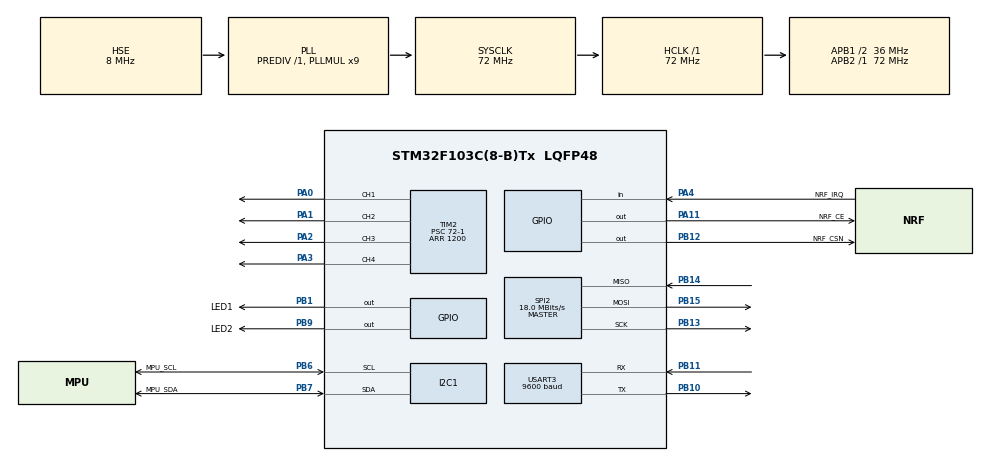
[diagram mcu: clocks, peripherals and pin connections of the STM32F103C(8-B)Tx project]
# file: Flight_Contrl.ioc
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FREERTOS.Queues01=GestureQueue,8,Gesture_Typedef,0,Dynamic,NULL,NULL
FREERTOS.Tasks01=defaultTask,-2,64,StartDefaultTask,Default,NULL,Dynamic,NULL,NULL;NRFTask,3,512,StartNRFTask,Default,NULL,Dynamic,NULL,NULL;FCTask,2,256,StartFCTask,Default,NULL,Dynamic,NULL,NULL
FREERTOS.configENABLE_BACKWARD_COMPATIBILITY=0
FREERTOS.configIDLE_SHOULD_YIELD=0
FREERTOS.configMAX_TASK_NAME_LEN=12
FREERTOS.configMINIMAL_STACK_SIZE=64
FREERTOS.configQUEUE_REGISTRY_SIZE=0
FREERTOS.configTOTAL_HEAP_SIZE=10240
FREERTOS.configUSE_TASK_NOTIFICATIONS=0
I2C1.I2C_Mode=I2C_Fast
Mcu.Family=STM32F1
Mcu.Name=STM32F103C(8-B)Tx
Mcu.Package=LQFP48
NVIC.PriorityGroup=NVIC_PRIORITYGROUP_4
NVIC.TIM4_IRQn=true\:0\:0\:false\:false\:true\:false\:false\:true
NVIC.TimeBase=TIM4_IRQn
NVIC.TimeBaseIP=TIM4
PA0-WKUP.Signal=S_TIM2_CH1_ETR
PA1.Signal=S_TIM2_CH2
PA11.GPIO_Label=NRF_CE
PA11.GPIO_Speed=GPIO_SPEED_FREQ_HIGH
PA11.Signal=GPIO_Output
PA13.Mode=Serial_Wire
PA13.Signal=SYS_JTMS-SWDIO
PA14.Mode=Serial_Wire
PA14.Signal=SYS_JTCK-SWCLK
PA2.Signal=S_TIM2_CH3
PA3.Signal=S_TIM2_CH4
PA4.GPIO_Label=NRF_IRQ
PA4.GPIO_PuPd=GPIO_NOPULL
PA4.Signal=GPIO_Input
PB1.GPIO_Label=LED1
PB1.GPIO_Speed=GPIO_SPEED_FREQ_HIGH
PB1.Signal=GPIO_Output
PB10.Mode=Asynchronous
PB10.Signal=USART3_TX
PB11.Mode=Asynchronous
PB11.Signal=USART3_RX
PB12.GPIO_Label=NRF_CSN
PB12.Signal=GPIO_Output
PB13.Mode=Full_Duplex_Master
PB13.Signal=SPI2_SCK
PB14.Mode=Full_Duplex_Master
PB14.Signal=SPI2_MISO
PB15.Mode=Full_Duplex_Master
PB15.Signal=SPI2_MOSI
PB6.GPIO_Label=MPU_SCL
PB6.Mode=I2C
PB6.Signal=I2C1_SCL
PB7.GPIO_Label=MPU_SDA
PB7.Mode=I2C
PB7.Signal=I2C1_SDA
PB9.GPIO_Label=LED2
PB9.Signal=GPIO_Output
PC14-OSC32_IN.Mode=LSE-External-Oscillator
PC14-OSC32_IN.Signal=RCC_OSC32_IN
PC15-OSC32_OUT.Mode=LSE-External-Oscillator
PC15-OSC32_OUT.Signal=RCC_OSC32_OUT
PD0-OSC_IN.Mode=HSE-External-Oscillator
PD0-OSC_IN.Signal=RCC_OSC_IN
PD1-OSC_OUT.Mode=HSE-External-Oscillator
PD1-OSC_OUT.Signal=RCC_OSC_OUT
ProjectManager.HeapSize=0x400
ProjectManager.StackSize=0x600
ProjectManager.TargetToolchain=MDK-ARM V5
RCC.AHBFreq_Value=72000000
RCC.APB1CLKDivider=RCC_HCLK_DIV2
RCC.APB1Freq_Value=36000000
RCC.APB1TimFreq_Value=72000000
RCC.APB2Freq_Value=72000000
RCC.APB2TimFreq_Value=72000000
RCC.EnbaleCSS=true
RCC.HCLKFreq_Value=72000000
RCC.PLLMUL=RCC_PLL_MUL9
RCC.PLLSourceVirtual=RCC_PLLSOURCE_HSE
RCC.SYSCLKFreq_VALUE=72000000
RCC.SYSCLKSource=RCC_SYSCLKSOURCE_PLLCLK
RCC.USBFreq_Value=48000000
RCC.USBPrescaler=RCC_USBCLKSOURCE_PLL_DIV1_5
SH.S_TIM2_CH1_ETR.0=TIM2_CH1,PWM Generation1 CH1
SH.S_TIM2_CH2.0=TIM2_CH2,PWM Generation2 CH2
SH.S_TIM2_CH3.0=TIM2_CH3,PWM Generation3 CH3
SH.S_TIM2_CH4.0=TIM2_CH4,PWM Generation4 CH4
SPI2.CalculateBaudRate=18.0 MBits/s
SPI2.Direction=SPI_DIRECTION_2LINES
SPI2.Mode=SPI_MODE_MASTER
SPI2.VirtualType=VM_MASTER
TIM2.Channel-PWM\ Generation1\ CH1=TIM_CHANNEL_1
TIM2.Channel-PWM\ Generation2\ CH2=TIM_CHANNEL_2
TIM2.Channel-PWM\ Generation3\ CH3=TIM_CHANNEL_3
TIM2.Channel-PWM\ Generation4\ CH4=TIM_CHANNEL_4
TIM2.Period=1200
TIM2.Prescaler=72-1
USART3.BaudRate=9600
USART3.VirtualMode=VM_ASYNC
VP_CRC_VS_CRC.Mode=CRC_Activate
VP_FREERTOS_VS_CMSIS_V1.Mode=CMSIS_V1
VP_SYS_VS_tim4.Mode=TIM4
VP_TIM2_VS_ClockSourceINT.Mode=Internal
board=Flight_Contrl

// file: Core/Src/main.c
/* USER CODE BEGIN Header */
/**
  ******************************************************************************
  * @file           : main.c
  * @brief          : Main program body
  ******************************************************************************
  * This notice applies to any and all portions of this file
  * that are not between comment pairs USER CODE BEGIN and
  * USER CODE END. Other portions of this file, whether
  * inserted by the user or by software development tools
  * are owned by their respective copyright owners.
  *
  * Copyright (c) 2018 STMicroelectronics International N.V.
  * All rights reserved.
  *
  * Redistribution and use in source and binary forms, with or without
  * modification, are permitted, provided that the following conditions are met:
  *
  * 1. Redistribution of source code must retain the above copyright notice,
  *    this list of conditions and the following disclaimer.
  * 2. Redistributions in binary form must reproduce the above copyright notice,
  *    this list of conditions and the following disclaimer in the documentation
  *    and/or other materials provided with the distribution.
  * 3. Neither the name of STMicroelectronics nor the names of other
  *    contributors to this software may be used to endorse or promote products
  *    derived from this software without specific written permission.
  * 4. This software, including modifications and/or derivative works of this
  *    software, must execute solely and exclusively on microcontroller or
  *    microprocessor devices manufactured by or for STMicroelectronics.
  * 5. Redistribution and use of this software other than as permitted under
  *    this license is void and will automatically terminate your rights under
  *    this license.
  *
  * THIS SOFTWARE IS PROVIDED BY STMICROELECTRONICS AND CONTRIBUTORS "AS IS"
  * AND ANY EXPRESS, IMPLIED OR STATUTORY WARRANTIES, INCLUDING, BUT NOT
  * LIMITED TO, THE IMPLIED WARRANTIES OF MERCHANTABILITY, FITNESS FOR A
  * PARTICULAR PURPOSE AND NON-INFRINGEMENT OF THIRD PARTY INTELLECTUAL PROPERTY
  * RIGHTS ARE DISCLAIMED TO THE FULLEST EXTENT PERMITTED BY LAW. IN NO EVENT
  * SHALL STMICROELECTRONICS OR CONTRIBUTORS BE LIABLE FOR ANY DIRECT, INDIRECT,
  * INCIDENTAL, SPECIAL, EXEMPLARY, OR CONSEQUENTIAL DAMAGES (INCLUDING, BUT NOT
  * LIMITED TO, PROCUREMENT OF SUBSTITUTE GOODS OR SERVICES; LOSS OF USE, DATA,
  * OR PROFITS; OR BUSINESS INTERRUPTION) HOWEVER CAUSED AND ON ANY THEORY OF
  * LIABILITY, WHETHER IN CONTRACT, STRICT LIABILITY, OR TORT (INCLUDING
  * NEGLIGENCE OR OTHERWISE) ARISING IN ANY WAY OUT OF THE USE OF THIS SOFTWARE,
  * EVEN IF ADVISED OF THE POSSIBILITY OF SUCH DAMAGE.
  *
  ******************************************************************************
  */
/* USER CODE END Header */

#include "main.h"
#include "cmsis_os.h"
#include "crc.h"
#include "i2c.h"
#include "spi.h"
#include "tim.h"
#include "usart.h"
#include "gpio.h"

/* USER CODE BEGIN Includes */
#include "arm_math.h"

#include "BSP_NRF24L01.h"
#include "BSP_Motor.h"
//#include "BSP_MPU6050.h"
#include "inv_mpu.h"
/* USER CODE END Includes */

/* USER CODE BEGIN PV */
//uint8_t NRF_TxState=0;
//uint8_t NRF_RxState=0;

//uint8_t Tx_packet[11]="FCTx_packet";
//uint8_t Rx_packet[11];
/* USER CODE END PV */

void SystemClock_Config(void);
void MX_FREERTOS_Init(void);

int main(void)
{

  /* MCU Configuration--------------------------------------------------------*/

  /* Reset of all peripherals, Initializes the Flash interface and the Systick. */
  HAL_Init();

  /* Configure the system clock */
  SystemClock_Config();

  /* Initialize all configured peripherals */
  MX_GPIO_Init();
  MX_TIM2_Init();
  MX_SPI2_Init();
  MX_I2C1_Init();
  MX_CRC_Init();
  MX_USART3_UART_Init();
  /* USER CODE BEGIN 2 */
		HAL_TIM_Base_Start(&htim2);
  HAL_TIM_PWM_Start(&htim2,TIM_CHANNEL_1);
  HAL_TIM_PWM_Start(&htim2,TIM_CHANNEL_2);
  HAL_TIM_PWM_Start(&htim2,TIM_CHANNEL_3);
  HAL_TIM_PWM_Start(&htim2,TIM_CHANNEL_4);
  while( NRF24L01_Check() );
		while( mpu_dmp_init() != 0) ;

  /* USER CODE END 2 */

  /* Call init function for freertos objects (in freertos.c) */
  MX_FREERTOS_Init();

  /* Start scheduler */
  osKernelStart();

  /* We should never get here as control is now taken by the scheduler */

  /* Infinite loop */
  while (1)
  {

  }
}

void SystemClock_Config(void)
{
  RCC_OscInitTypeDef RCC_OscInitStruct = {0};
  RCC_ClkInitTypeDef RCC_ClkInitStruct = {0};

  /**Initializes the CPU, AHB and APB busses clocks
  */
  RCC_OscInitStruct.OscillatorType = RCC_OSCILLATORTYPE_HSE;
  RCC_OscInitStruct.HSEState = RCC_HSE_ON;
  RCC_OscInitStruct.HSEPredivValue = RCC_HSE_PREDIV_DIV1;
  RCC_OscInitStruct.HSIState = RCC_HSI_ON;
  RCC_OscInitStruct.PLL.PLLState = RCC_PLL_ON;
  RCC_OscInitStruct.PLL.PLLSource = RCC_PLLSOURCE_HSE;
  RCC_OscInitStruct.PLL.PLLMUL = RCC_PLL_MUL9;
  if (HAL_RCC_OscConfig(&RCC_OscInitStruct) != HAL_OK)
  {
    Error_Handler();
  }
  /**Initializes the CPU, AHB and APB busses clocks
  */
  RCC_ClkInitStruct.ClockType = RCC_CLOCKTYPE_HCLK|RCC_CLOCKTYPE_SYSCLK
                              |RCC_CLOCKTYPE_PCLK1|RCC_CLOCKTYPE_PCLK2;
  RCC_ClkInitStruct.SYSCLKSource = RCC_SYSCLKSOURCE_PLLCLK;
  RCC_ClkInitStruct.AHBCLKDivider = RCC_SYSCLK_DIV1;
  RCC_ClkInitStruct.APB1CLKDivider = RCC_HCLK_DIV2;
  RCC_ClkInitStruct.APB2CLKDivider = RCC_HCLK_DIV1;

  if (HAL_RCC_ClockConfig(&RCC_ClkInitStruct, FLASH_LATENCY_2) != HAL_OK)
  {
    Error_Handler();
  }
  /**Enables the Clock Security System
  */
  HAL_RCC_EnableCSS();
}

void HAL_TIM_PeriodElapsedCallback(TIM_HandleTypeDef *htim)
{
  if (htim->Instance == TIM4) {
    HAL_IncTick();
  }
}

void Error_Handler(void)
{
}

/************************ (C) COPYRIGHT STMicroelectronics *****END OF FILE****/

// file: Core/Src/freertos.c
/* USER CODE BEGIN Header */
/**
  ******************************************************************************
  * File Name          : freertos.c
  * Description        : Code for freertos applications
  ******************************************************************************
  * This notice applies to any and all portions of this file
  * that are not between comment pairs USER CODE BEGIN and
  * USER CODE END. Other portions of this file, whether
  * inserted by the user or by software development tools
  * are owned by their respective copyright owners.
  *
  * Copyright (c) 2018 STMicroelectronics International N.V.
  * All rights reserved.
  *
  * Redistribution and use in source and binary forms, with or without
  * modification, are permitted, provided that the following conditions are met:
  *
  * 1. Redistribution of source code must retain the above copyright notice,
  *    this list of conditions and the following disclaimer.
  * 2. Redistributions in binary form must reproduce the above copyright notice,
  *    this list of conditions and the following disclaimer in the documentation
  *    and/or other materials provided with the distribution.
  * 3. Neither the name of STMicroelectronics nor the names of other
  *    contributors to this software may be used to endorse or promote products
  *    derived from this software without specific written permission.
  * 4. This software, including modifications and/or derivative works of this
  *    software, must execute solely and exclusively on microcontroller or
  *    microprocessor devices manufactured by or for STMicroelectronics.
  * 5. Redistribution and use of this software other than as permitted under
  *    this license is void and will automatically terminate your rights under
  *    this license.
  *
  * THIS SOFTWARE IS PROVIDED BY STMICROELECTRONICS AND CONTRIBUTORS "AS IS"
  * AND ANY EXPRESS, IMPLIED OR STATUTORY WARRANTIES, INCLUDING, BUT NOT
  * LIMITED TO, THE IMPLIED WARRANTIES OF MERCHANTABILITY, FITNESS FOR A
  * PARTICULAR PURPOSE AND NON-INFRINGEMENT OF THIRD PARTY INTELLECTUAL PROPERTY
  * RIGHTS ARE DISCLAIMED TO THE FULLEST EXTENT PERMITTED BY LAW. IN NO EVENT
  * SHALL STMICROELECTRONICS OR CONTRIBUTORS BE LIABLE FOR ANY DIRECT, INDIRECT,
  * INCIDENTAL, SPECIAL, EXEMPLARY, OR CONSEQUENTIAL DAMAGES (INCLUDING, BUT NOT
  * LIMITED TO, PROCUREMENT OF SUBSTITUTE GOODS OR SERVICES; LOSS OF USE, DATA,
  * OR PROFITS; OR BUSINESS INTERRUPTION) HOWEVER CAUSED AND ON ANY THEORY OF
  * LIABILITY, WHETHER IN CONTRACT, STRICT LIABILITY, OR TORT (INCLUDING
  * NEGLIGENCE OR OTHERWISE) ARISING IN ANY WAY OUT OF THE USE OF THIS SOFTWARE,
  * EVEN IF ADVISED OF THE POSSIBILITY OF SUCH DAMAGE.
  *
  ******************************************************************************
  */
/* USER CODE END Header */

#include "FreeRTOS.h"
#include "task.h"
#include "main.h"
#include "cmsis_os.h"

/* USER CODE BEGIN Includes */
#include "gpio.h"
#include "crc.h"

#include "string.h"
#include "arm_math.h"

#include "inv_mpu.h"
#include "BSP_MPU6050.h"
#include "BSP_Motor.h"
#include "BSP_LED.h"
#include "BSP_NRF24L01.h"
#include "BSP_Motor.h"

#include "printf_scanf.h"
/* USER CODE END Includes */

/* USER CODE BEGIN PD */

#define NRF_TX_MAXRETRY 5
#define NRF_RX_MAXRETRY 1
/* USER CODE END PD */

/* USER CODE BEGIN Variables */
typedef struct{
	float Pitch;
	float Roll;
	float Yaw;
	float Gyro_x;
	float Gyro_y;
	float Gyro_z;
}Gesture_Typedef;   //3*4B   36B

typedef __packed struct{
	uint8_t Function_Code;
	float P	 ;       //4B
	float I  ;
	float D  ;
 uint8_t index;
}PID_Typedef;

typedef __packed struct{
uint8_t  Function_Code;
uint8_t	 Key_Left_Flag;
uint8_t	 Key_Right_Flag;
uint8_t  Key_Count;	    //4B
int16_t  LX;
int16_t  LY;            //4B
int8_t   RX;
int8_t   RY;             //2B
uint8_t  Heart_Beat;
}Joykey_Typedef;  // 10B

/* USER CODE END Variables */
osThreadId defaultTaskHandle;
osThreadId NRFTaskHandle;
osThreadId FCTaskHandle;
osMessageQId GestureQueueHandle;

void StartDefaultTask(void const * argument);
void StartNRFTask(void const * argument);
void StartFCTask(void const * argument);

void MX_FREERTOS_Init(void); /* (MISRA C 2004 rule 8.1) */

void MX_FREERTOS_Init(void) {

  /* Create the thread(s) */
  /* definition and creation of defaultTask */
  osThreadDef(defaultTask, StartDefaultTask, osPriorityLow, 0, 64);
  defaultTaskHandle = osThreadCreate(osThread(defaultTask), NULL);

  /* definition and creation of NRFTask */
  osThreadDef(NRFTask, StartNRFTask, osPriorityRealtime, 0, 512);
  NRFTaskHandle = osThreadCreate(osThread(NRFTask), NULL);

  /* definition and creation of FCTask */
  osThreadDef(FCTask, StartFCTask, osPriorityHigh, 0, 256);
  FCTaskHandle = osThreadCreate(osThread(FCTask), NULL);

  /* Create the queue(s) */
  /* definition and creation of GestureQueue */
  osMessageQDef(GestureQueue, 8, Gesture_Typedef);
  GestureQueueHandle = osMessageCreate(osMessageQ(GestureQueue), NULL);

}

void StartDefaultTask(void const * argument)
{

  /* USER CODE BEGIN StartDefaultTask */
  /* Infinite loop */
  for(;;)
  {
				LED1_OFF;
		  LED2_OFF;
		  HAL_Delay(50);
				LED1_ON;
			 LED2_ON;
    osDelay(950);
  }
  /* USER CODE END StartDefaultTask */
}

void StartNRFTask(void const * argument)
{
  /* USER CODE BEGIN StartNRFTask */
	 osEvent Geture_Event;
	 Joykey_Typedef JoyKey;
	 PID_Typedef PID_Set;
	 uint8_t PID_Set_Index=0;

	 uint8_t Heart_Beat_Last=0;

	 uint8_t NRF_Mode=2; //1:TX 2:RX

		uint8_t NRF_Tx_buf[32];
  uint8_t NRF_Rx_buf[32];
		uint8_t NRF_state=0;

	 uint32_t CRC_Buf[32];
	 uint8_t CRC_Value=0;
	__IO uint8_t Function_Code='C';

	 uint8_t NRF_Tx_index=0;

		PID_Parameter_Typedef Outer_Pitch_PID_Par;
		PID_Parameter_Typedef Inner_Pitch_PID_Par;

		PID_Parameter_Typedef Outer_Roll_PID_Par;
		PID_Parameter_Typedef Inner_Roll_PID_Par;

		PID_Parameter_Typedef Yaw_PID_Par;

		Control_PID_Init(&Outer_Roll_PID_Par);
		Control_PID_Init(&Inner_Roll_PID_Par);
		Control_PID_Init(&Outer_Pitch_PID_Par);
		Control_PID_Init(&Inner_Pitch_PID_Par);
		Control_PID_Init(&Yaw_PID_Par);

	 NRF24L01_Init(40,NRF_Mode);

  /* Infinite loop */
  for(;;)
  {
			 switch(NRF_Mode)
				{
					case 1:
								NRF24L01_TX_Mode();
							 NRF_Mode=0;
		   			NRF_state=1;
					break;
					case 2:
								NRF24L01_RX_Mode();
							 NRF_Mode=0;
					   NRF_state=0;
					break;
					default:
						break;
				}

				if(NRF_state)
				{
					NRF24L01_TxPacket(NRF_Tx_buf);
				}
				else
				{
					NRF24L01_RxPacket(NRF_Rx_buf);
				}

				Function_Code=NRF_Rx_buf[0];
				memcpy(CRC_Buf,NRF_Rx_buf,31);
				CRC_Value=	(uint8_t) HAL_CRC_Calculate(&hcrc,CRC_Buf,31);
    switch(Function_Code)
				{
					case 'D':
							PWM_Set(&htim2,0,0,0,0);
						break;

					case 'C':
						memcpy(&JoyKey,NRF_Rx_buf,sizeof(Joykey_Typedef));
					 Geture_Event=osMessageGet(GestureQueueHandle,5);
						if( (JoyKey.Heart_Beat != Heart_Beat_Last) && (CRC_Value == NRF_Rx_buf[31]) )
						{
//							 PWM_Set(&htim2,JoyKey.LY,JoyKey.LY,JoyKey.LY,JoyKey.LY
//												taskENTER_CRITICAL();
//
																Control_Function( JoyKey.LY,JoyKey.RY,JoyKey.RX,
																																		((Gesture_Typedef *)(Geture_Event.value.p))->Pitch,
																																		((Gesture_Typedef *)(Geture_Event.value.p))->Roll,
																																		((Gesture_Typedef *)(Geture_Event.value.p))->Yaw,
																																		((Gesture_Typedef *)(Geture_Event.value.p))->Gyro_x,
																																		((Gesture_Typedef *)(Geture_Event.value.p))->Gyro_y,
																																		((Gesture_Typedef *)(Geture_Event.value.p))->Gyro_z,
																																			&Outer_Pitch_PID_Par,&Inner_Pitch_PID_Par,
																																			&Outer_Roll_PID_Par,&Inner_Roll_PID_Par,
																																			&Yaw_PID_Par );
																ANO_DT_Send_Status( ((Gesture_Typedef *)(Geture_Event.value.p))->Roll,((Gesture_Typedef *)(Geture_Event.value.p))->Pitch,
				                    ((Gesture_Typedef *)(Geture_Event.value.p))->Yaw , 0 ,0 ,0 );
            				ANO_DT_Send_Senser(0,0,0,((Gesture_Typedef *)(Geture_Event.value.p))->Gyro_x,
				                    ((Gesture_Typedef *)(Geture_Event.value.p))->Gyro_y, ((Gesture_Typedef *)(Geture_Event.value.p))->Gyro_z,
				                   0,0,0,0 );
//													taskEXIT_CRITICAL();
							     	Heart_Beat_Last=JoyKey.Heart_Beat; //更新通信心跳
//												}

						}
						break;

						case 'S':
						memcpy(&PID_Set,NRF_Rx_buf,sizeof(PID_Typedef));
						if( PID_Set.index >=1 && PID_Set.index<= 3 )
						{
						 PID_Set_Index=1;//选择Roll内环PID
						}
						else if ( PID_Set.index >=4 && PID_Set.index<= 6 )
						{
							PID_Set_Index=2;//选择Roll外环PID
						}
						else if ( PID_Set.index >=7 && PID_Set.index<= 9 )
						{
							PID_Set_Index=3;//选择Pitch内环PID
						}
						else if ( PID_Set.index >=10 && PID_Set.index<= 12 )
						{
							PID_Set_Index=4;//选择Pitch外环PID
						}
						else
						{
							PID_Set_Index=0;
						}

						switch(PID_Set_Index)
						{
								case 1:
													Control_PID_Set( &Inner_Roll_PID_Par,PID_Set.P,PID_Set.I,PID_Set.D );
								break;
								case 2:
													Control_PID_Set( &Outer_Roll_PID_Par,PID_Set.P,PID_Set.I,PID_Set.D );
								break;
								case 3:
													Control_PID_Set( &Inner_Pitch_PID_Par,PID_Set.P,PID_Set.I,PID_Set.D );
								break;
								case 4:
													Control_PID_Set( &Outer_Pitch_PID_Par,PID_Set.P,PID_Set.I,PID_Set.D );
								break;
        default:
        break;
						}

						break;

					case 'R':
						memcpy( NRF_Tx_buf , Geture_Event.value.p,sizeof(Gesture_Typedef) );
						for(NRF_Tx_index=0;NRF_Tx_index<5;NRF_Tx_index++)
						{
						 NRF24L01_TxPacket(NRF_Tx_buf);
						}
						break;

					default:
      break;
				}

//
//				ANO_DT_Send_PID(1,Inner_Roll_PID_Par.Kp,Inner_Roll_PID_Par.Ki,Inner_Roll_PID_Par.Kd,0,0,0,0,0,0);

    osDelay(10);
		}
  /* USER CODE END StartNRFTask */
}

void StartFCTask(void const * argument)
{
  /* USER CODE BEGIN StartFCTask */
  float Pitch=0.0f,Roll=0.0f,Yaw=0.0f;
//	 float GX,GY,GZ;
//	 float GX_Pre,GY_Pre,GZ_Pre;

	 short Gyro[3];
	 Gesture_Typedef Gesture;

	 while( Pitch<=0.1f && Pitch>=-0.1 &&
         Roll<=0.1f && Roll>=-0.1f &&
         Yaw<=0.1f &&  Yaw>=-0.1f		)
	 {
		  mpu_dmp_get_data(&Pitch,&Roll,&Yaw);
		}
		MPU6050ReadGyro(Gyro);

  /* Infinite loop */
  for(;;)
  {

			mpu_dmp_get_data(&Pitch,&Roll,&Yaw);
			MPU6050ReadGyro(Gyro);

			Gesture.Pitch=Pitch;
			Gesture.Roll=Roll;
			Gesture.Yaw=Yaw;

//			GX=Gyro[0]/16.04f;
//			GY=Gyro[1]/16.04f;
//			GZ=Gyro[2]/16.04f;

//			Gesture.Gyro_x = LPF_1st(GX_Pre,GX,0.386f);
//			Gesture.Gyro_y =	LPF_1st(GY_Pre,GY,0.386f);
//			Gesture.Gyro_z =	LPF_1st(GZ_Pre,GZ,0.386f);

//			GX_Pre=GX;
//			GY_Pre=GY;
//			GZ_Pre=GZ;

//无低通滤波 一阶
			Gesture.Gyro_x=(float)(Gyro[0]/16.04f);
			Gesture.Gyro_y=(float)(Gyro[1]/16.04f);
			Gesture.Gyro_z=(float)(Gyro[2]/16.04f);

			osMessagePut(GestureQueueHandle,(uint32_t)&Gesture,5);
   osDelay(5);
  }
  /* USER CODE END StartFCTask */
}

/************************ (C) COPYRIGHT STMicroelectronics *****END OF FILE****/
